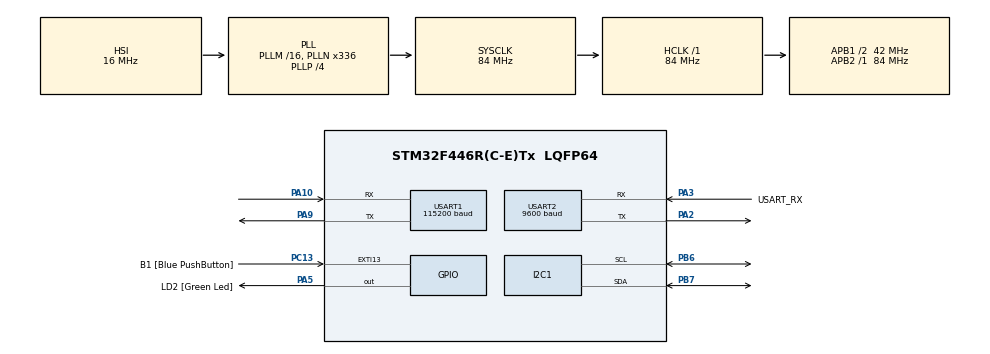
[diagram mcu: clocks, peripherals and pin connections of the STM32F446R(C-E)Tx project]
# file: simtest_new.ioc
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Dma.I2C1_RX.0.Direction=DMA_PERIPH_TO_MEMORY
Dma.I2C1_RX.0.FIFOMode=DMA_FIFOMODE_DISABLE
Dma.I2C1_RX.0.Instance=DMA1_Stream0
Dma.I2C1_RX.0.MemDataAlignment=DMA_MDATAALIGN_BYTE
Dma.I2C1_RX.0.MemInc=DMA_MINC_ENABLE
Dma.I2C1_RX.0.Mode=DMA_NORMAL
Dma.I2C1_RX.0.PeriphDataAlignment=DMA_PDATAALIGN_BYTE
Dma.I2C1_RX.0.PeriphInc=DMA_PINC_DISABLE
Dma.I2C1_RX.0.Priority=DMA_PRIORITY_LOW
Dma.I2C1_TX.1.Direction=DMA_MEMORY_TO_PERIPH
Dma.I2C1_TX.1.FIFOMode=DMA_FIFOMODE_DISABLE
Dma.I2C1_TX.1.Instance=DMA1_Stream6
Dma.I2C1_TX.1.MemDataAlignment=DMA_MDATAALIGN_BYTE
Dma.I2C1_TX.1.MemInc=DMA_MINC_ENABLE
Dma.I2C1_TX.1.Mode=DMA_NORMAL
Dma.I2C1_TX.1.PeriphDataAlignment=DMA_PDATAALIGN_BYTE
Dma.I2C1_TX.1.PeriphInc=DMA_PINC_DISABLE
Dma.I2C1_TX.1.Priority=DMA_PRIORITY_LOW
Dma.Request0=I2C1_RX
Dma.Request1=I2C1_TX
Mcu.Family=STM32F4
Mcu.Name=STM32F446R(C-E)Tx
Mcu.Package=LQFP64
NVIC.DMA1_Stream0_IRQn=true\:0\:0\:false\:false\:true\:false\:true\:true
NVIC.DMA1_Stream6_IRQn=true\:0\:0\:false\:false\:true\:false\:true\:true
NVIC.I2C1_ER_IRQn=true\:0\:0\:false\:false\:true\:true\:true\:true
NVIC.I2C1_EV_IRQn=true\:0\:0\:false\:false\:true\:true\:true\:true
NVIC.PriorityGroup=NVIC_PRIORITYGROUP_0
NVIC.TIM1_UP_TIM10_IRQn=true\:0\:0\:false\:false\:true\:true\:true\:true
PA10.Mode=Asynchronous
PA10.Signal=USART1_RX
PA13.GPIO_Label=TMS
PA13.Mode=Serial_Wire
PA13.Signal=SYS_JTMS-SWDIO
PA14.GPIO_Label=TCK
PA14.Mode=Serial_Wire
PA14.Signal=SYS_JTCK-SWCLK
PA2.Mode=Asynchronous
PA2.Signal=USART2_TX
PA3.GPIO_Label=USART_RX
PA3.Mode=Asynchronous
PA3.Signal=USART2_RX
PA5.GPIO_Label=LD2 [Green Led]
PA5.Signal=GPIO_Output
PA9.Mode=Asynchronous
PA9.Signal=USART1_TX
PB3.GPIO_Label=SWO
PB3.Signal=SYS_JTDO-SWO
PB6.Mode=I2C
PB6.Signal=I2C1_SCL
PB7.Mode=I2C
PB7.Signal=I2C1_SDA
PC13.GPIO_Label=B1 [Blue PushButton]
PC13.GPIO_ModeDefaultEXTI=GPIO_MODE_IT_FALLING
PC13.Signal=GPXTI13
PC14-OSC32_IN.Mode=LSE-External-Oscillator
PC14-OSC32_IN.Signal=RCC_OSC32_IN
PC15-OSC32_OUT.Mode=LSE-External-Oscillator
PC15-OSC32_OUT.Signal=RCC_OSC32_OUT
PH0-OSC_IN.Mode=HSE-External-Oscillator
PH0-OSC_IN.Signal=RCC_OSC_IN
PH1-OSC_OUT.Mode=HSE-External-Oscillator
PH1-OSC_OUT.Signal=RCC_OSC_OUT
ProjectManager.HeapSize=0x200
ProjectManager.StackSize=0x400
ProjectManager.TargetToolchain=STM32CubeIDE
RCC.48MHZClocksFreq_Value=84000000
RCC.AHBFreq_Value=84000000
RCC.APB1CLKDivider=RCC_HCLK_DIV2
RCC.APB1Freq_Value=42000000
RCC.APB1TimFreq_Value=84000000
RCC.APB2Freq_Value=84000000
RCC.APB2TimFreq_Value=84000000
RCC.CortexFreq_Value=84000000
RCC.FLatency-AdvancedSettings=FLASH_LATENCY_2
RCC.HCLKFreq_Value=84000000
RCC.HSE_VALUE=8000000
RCC.HSI_VALUE=16000000
RCC.PLLN=336
RCC.PLLP=RCC_PLLP_DIV4
RCC.SYSCLKFreq_VALUE=84000000
RCC.SYSCLKSource=RCC_SYSCLKSOURCE_PLLCLK
RCC.USBFreq_Value=168000000
RCC.VCOOutputFreq_Value=336000000
TIM1.AutoReloadPreload=TIM_AUTORELOAD_PRELOAD_ENABLE
TIM1.Period=500-1
TIM1.Prescaler=8400-1
USART1.BaudRate=115200
USART1.VirtualMode=VM_ASYNC
USART2.BaudRate=9600
USART2.VirtualMode=VM_ASYNC
VP_TIM1_VS_ClockSourceINT.Mode=Internal
board=NUCLEO-F446RE

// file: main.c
/* USER CODE BEGIN Header */
/**
  ******************************************************************************
  * @file           : main.c
  * @brief          : Main program body
  ******************************************************************************
  * @attention
  *
  * Copyright (c) 2024 STMicroelectronics.
  * All rights reserved.
  *
  * This software is licensed under terms that can be found in the LICENSE file
  * in the root directory of this software component.
  * If no LICENSE file comes with this software, it is provided AS-IS.
  *
  ******************************************************************************
  */
/* USER CODE END Header */
#include "main.h"

/* USER CODE BEGIN Includes */
#include <stdio.h>
#include <string.h>
#include <stdlib.h>
#include <stdbool.h>
/* USER CODE END Includes */

I2C_HandleTypeDef hi2c1;
DMA_HandleTypeDef hdma_i2c1_rx;
DMA_HandleTypeDef hdma_i2c1_tx;

TIM_HandleTypeDef htim1;

UART_HandleTypeDef huart1;
UART_HandleTypeDef huart2;

/* USER CODE BEGIN PV */
//MQTT
const char apn[]  = "web.vodafone.de";
const char host[] = "tcp://test.mosquitto.org";
const int  port = 1883;
const char username[] = "";
const char password[] = "";
const char topic1[] = "mcp/temp/1";
const char topic2[] = "pd/frq/1";

//SIM7600
char ATC[60];
char reply[300] = {0};
uint8_t ATisOK = 0;
uint8_t CGREGisOK = 0;
uint8_t MQTTisStart = 0;
uint8_t MQTTisConnect = 0;
const uint32_t timeOut =10000;
uint32_t startTime;

//Temperature
static const uint8_t TMP_ADDR = 0x65 << 1;
uint8_t TempReading[2];

//I2Ccallback
#define BUFFER_SIZE 5
#define FAST_BUFFER 30
#define FAST_TIME 1 //number of second the measuring should be done during the fast measuring
#define TEMP_THRESHOLD 25
uint8_t bufferSize = BUFFER_SIZE;
char temperatureBuffer[FAST_BUFFER];
uint8_t bufferIndex = 0;
bool fastTrig = false;
uint32_t fastTimr = 0;
/* USER CODE END PV */

void SystemClock_Config(void);
static void MX_GPIO_Init(void);
static void MX_DMA_Init(void);
static void MX_USART2_UART_Init(void);
static void MX_USART1_UART_Init(void);
static void MX_I2C1_Init(void);
static void MX_TIM1_Init(void);
/* USER CODE BEGIN PFP */
void powerOn(void);
void SIMTransmit(char *cmd);
void startMQTT(void);
void transmitMQTT(void);
void endMQTT(void);
void mainMQTT(void);
void readTemperature(void);
void printBuffer(void);
/* USER CODE END PFP */

int main(void)
{

  /* MCU Configuration--------------------------------------------------------*/

  /* Reset of all peripherals, Initializes the Flash interface and the Systick. */
  HAL_Init();

  /* Configure the system clock */
  SystemClock_Config();

  /* Initialize all configured peripherals */
  MX_GPIO_Init();
  MX_DMA_Init();
  MX_USART2_UART_Init();
  MX_USART1_UART_Init();
  MX_I2C1_Init();
  MX_TIM1_Init();
  /* USER CODE BEGIN 2 */
  powerOn();
  HAL_TIM_Base_Start_IT(&htim1);
  /* USER CODE END 2 */
  /* Infinite loop */
  while (1)
  {

    /* USER CODE BEGIN 3 */
	  mainMQTT();
  }
  /* USER CODE END 3 */
}

void SystemClock_Config(void)
{
  RCC_OscInitTypeDef RCC_OscInitStruct = {0};
  RCC_ClkInitTypeDef RCC_ClkInitStruct = {0};

  /** Configure the main internal regulator output voltage
  */
  __HAL_RCC_PWR_CLK_ENABLE();
  __HAL_PWR_VOLTAGESCALING_CONFIG(PWR_REGULATOR_VOLTAGE_SCALE3);

  /** Initializes the RCC Oscillators according to the specified parameters
  * in the RCC_OscInitTypeDef structure.
  */
  RCC_OscInitStruct.OscillatorType = RCC_OSCILLATORTYPE_HSI;
  RCC_OscInitStruct.HSIState = RCC_HSI_ON;
  RCC_OscInitStruct.HSICalibrationValue = RCC_HSICALIBRATION_DEFAULT;
  RCC_OscInitStruct.PLL.PLLState = RCC_PLL_ON;
  RCC_OscInitStruct.PLL.PLLSource = RCC_PLLSOURCE_HSI;
  RCC_OscInitStruct.PLL.PLLM = 16;
  RCC_OscInitStruct.PLL.PLLN = 336;
  RCC_OscInitStruct.PLL.PLLP = RCC_PLLP_DIV4;
  RCC_OscInitStruct.PLL.PLLQ = 2;
  RCC_OscInitStruct.PLL.PLLR = 2;
  if (HAL_RCC_OscConfig(&RCC_OscInitStruct) != HAL_OK)
  {
    Error_Handler();
  }

  /** Initializes the CPU, AHB and APB buses clocks
  */
  RCC_ClkInitStruct.ClockType = RCC_CLOCKTYPE_HCLK|RCC_CLOCKTYPE_SYSCLK
                              |RCC_CLOCKTYPE_PCLK1|RCC_CLOCKTYPE_PCLK2;
  RCC_ClkInitStruct.SYSCLKSource = RCC_SYSCLKSOURCE_PLLCLK;
  RCC_ClkInitStruct.AHBCLKDivider = RCC_SYSCLK_DIV1;
  RCC_ClkInitStruct.APB1CLKDivider = RCC_HCLK_DIV2;
  RCC_ClkInitStruct.APB2CLKDivider = RCC_HCLK_DIV1;

  if (HAL_RCC_ClockConfig(&RCC_ClkInitStruct, FLASH_LATENCY_2) != HAL_OK)
  {
    Error_Handler();
  }
}

static void MX_I2C1_Init(void)
{

  hi2c1.Instance = I2C1;
  hi2c1.Init.ClockSpeed = 100000;
  hi2c1.Init.DutyCycle = I2C_DUTYCYCLE_2;
  hi2c1.Init.OwnAddress1 = 0;
  hi2c1.Init.AddressingMode = I2C_ADDRESSINGMODE_7BIT;
  hi2c1.Init.DualAddressMode = I2C_DUALADDRESS_DISABLE;
  hi2c1.Init.OwnAddress2 = 0;
  hi2c1.Init.GeneralCallMode = I2C_GENERALCALL_DISABLE;
  hi2c1.Init.NoStretchMode = I2C_NOSTRETCH_DISABLE;
  if (HAL_I2C_Init(&hi2c1) != HAL_OK)
  {
    Error_Handler();
  }

}

static void MX_TIM1_Init(void)
{

  TIM_ClockConfigTypeDef sClockSourceConfig = {0};
  TIM_MasterConfigTypeDef sMasterConfig = {0};

  htim1.Instance = TIM1;
  htim1.Init.Prescaler = 8400-1;
  htim1.Init.CounterMode = TIM_COUNTERMODE_UP;
  htim1.Init.Period = 1000-1;
  htim1.Init.ClockDivision = TIM_CLOCKDIVISION_DIV1;
  htim1.Init.RepetitionCounter = 0;
  htim1.Init.AutoReloadPreload = TIM_AUTORELOAD_PRELOAD_ENABLE;
  if (HAL_TIM_Base_Init(&htim1) != HAL_OK)
  {
    Error_Handler();
  }
  sClockSourceConfig.ClockSource = TIM_CLOCKSOURCE_INTERNAL;
  if (HAL_TIM_ConfigClockSource(&htim1, &sClockSourceConfig) != HAL_OK)
  {
    Error_Handler();
  }
  sMasterConfig.MasterOutputTrigger = TIM_TRGO_RESET;
  sMasterConfig.MasterSlaveMode = TIM_MASTERSLAVEMODE_DISABLE;
  if (HAL_TIMEx_MasterConfigSynchronization(&htim1, &sMasterConfig) != HAL_OK)
  {
    Error_Handler();
  }

}

static void MX_USART1_UART_Init(void)
{

  huart1.Instance = USART1;
  huart1.Init.BaudRate = 115200;
  huart1.Init.WordLength = UART_WORDLENGTH_8B;
  huart1.Init.StopBits = UART_STOPBITS_1;
  huart1.Init.Parity = UART_PARITY_NONE;
  huart1.Init.Mode = UART_MODE_TX_RX;
  huart1.Init.HwFlowCtl = UART_HWCONTROL_NONE;
  huart1.Init.OverSampling = UART_OVERSAMPLING_16;
  if (HAL_UART_Init(&huart1) != HAL_OK)
  {
    Error_Handler();
  }

}

static void MX_USART2_UART_Init(void)
{

  huart2.Instance = USART2;
  huart2.Init.BaudRate = 9600;
  huart2.Init.WordLength = UART_WORDLENGTH_8B;
  huart2.Init.StopBits = UART_STOPBITS_1;
  huart2.Init.Parity = UART_PARITY_NONE;
  huart2.Init.Mode = UART_MODE_TX_RX;
  huart2.Init.HwFlowCtl = UART_HWCONTROL_NONE;
  huart2.Init.OverSampling = UART_OVERSAMPLING_16;
  if (HAL_UART_Init(&huart2) != HAL_OK)
  {
    Error_Handler();
  }

}

static void MX_DMA_Init(void)
{

  /* DMA controller clock enable */
  __HAL_RCC_DMA1_CLK_ENABLE();

  /* DMA interrupt init */
  /* DMA1_Stream0_IRQn interrupt configuration */
  HAL_NVIC_SetPriority(DMA1_Stream0_IRQn, 0, 0);
  HAL_NVIC_EnableIRQ(DMA1_Stream0_IRQn);
  /* DMA1_Stream6_IRQn interrupt configuration */
  HAL_NVIC_SetPriority(DMA1_Stream6_IRQn, 0, 0);
  HAL_NVIC_EnableIRQ(DMA1_Stream6_IRQn);

}

static void MX_GPIO_Init(void)
{
  GPIO_InitTypeDef GPIO_InitStruct = {0};

  /* GPIO Ports Clock Enable */
  __HAL_RCC_GPIOC_CLK_ENABLE();
  __HAL_RCC_GPIOH_CLK_ENABLE();
  __HAL_RCC_GPIOA_CLK_ENABLE();
  __HAL_RCC_GPIOB_CLK_ENABLE();

  /*Configure GPIO pin Output Level */
  HAL_GPIO_WritePin(LD2_GPIO_Port, LD2_Pin, GPIO_PIN_RESET);

  /*Configure GPIO pin : B1_Pin */
  GPIO_InitStruct.Pin = B1_Pin;
  GPIO_InitStruct.Mode = GPIO_MODE_IT_FALLING;
  GPIO_InitStruct.Pull = GPIO_NOPULL;
  HAL_GPIO_Init(B1_GPIO_Port, &GPIO_InitStruct);

  /*Configure GPIO pin : LD2_Pin */
  GPIO_InitStruct.Pin = LD2_Pin;
  GPIO_InitStruct.Mode = GPIO_MODE_OUTPUT_PP;
  GPIO_InitStruct.Pull = GPIO_NOPULL;
  GPIO_InitStruct.Speed = GPIO_SPEED_FREQ_LOW;
  HAL_GPIO_Init(LD2_GPIO_Port, &GPIO_InitStruct);

}

/* USER CODE BEGIN 4 */
/**
  * @brief SIM7600 power on
  * @retval None
  */
void powerOn() {
    GPIO_InitTypeDef GPIO_InitStruct = {0};

    /* Enable GPIO Clock */
    __HAL_RCC_GPIOA_CLK_ENABLE();

    /* Configure GPIO pin Output Level */
    HAL_GPIO_WritePin(GPIOA, GPIO_PIN_8, GPIO_PIN_RESET);

    /* Configure GPIO pin : PA10 */
    GPIO_InitStruct.Pin = GPIO_PIN_8;
    GPIO_InitStruct.Mode = GPIO_MODE_OUTPUT_PP;
    GPIO_InitStruct.Pull = GPIO_NOPULL;
    GPIO_InitStruct.Speed = GPIO_SPEED_FREQ_LOW;
    HAL_GPIO_Init(GPIOA, &GPIO_InitStruct);

    /* Set the pin to HIGH */
    HAL_GPIO_WritePin(GPIOA, GPIO_PIN_8, GPIO_PIN_SET);
    HAL_Delay(500);

    /* Set the pin to LOW */
    HAL_GPIO_WritePin(GPIOA, GPIO_PIN_8, GPIO_PIN_RESET);
}

/**
  * @brief AT command transmit
  * @retval None
  */
void SIMTransmit(char *cmd){
  memset(reply,0,sizeof(reply));
  HAL_UART_Transmit(&huart1,(uint8_t *)cmd, strlen(cmd), 200);
  HAL_UART_Receive (&huart1, (uint8_t*)reply, sizeof(reply), 200);
  HAL_Delay(200);
  HAL_UART_Transmit(&huart2, (uint8_t*)reply, strlen(reply), 200);
}

/**
  * @brief MQTT start and initializing
  * @retval None
  */
void startMQTT(void){
  ATisOK = 0;
  CGREGisOK = 0;
  MQTTisStart = 0;
  MQTTisConnect = 0;

  startTime = HAL_GetTick();
  while(!ATisOK && startTime + timeOut > HAL_GetTick()){
	  SIMTransmit("AT\r\n");
	  HAL_Delay(100);
	  if(strstr((char *)reply, "OK")){
		  ATisOK = 1;
	  }
  }
  if(ATisOK){
	  startTime = HAL_GetTick();
	  while(!CGREGisOK && startTime + timeOut > HAL_GetTick()){
	 	  SIMTransmit("AT+CGREG?\r\n");
	 	  HAL_Delay(100);
	 	  if(strstr((char *)reply, "+CGREG: 0,1")){
	 		 CGREGisOK = 1;
	 	  }
	   }
  }
  if(CGREGisOK){
	  SIMTransmit("AT+CMQTTSTART\r\n");
	  if (strstr((char *)reply, "ERROR")){
		  SIMTransmit("AT+CMQTTDISC=0,120\r\n");
		  SIMTransmit("AT+CMQTTREL=0\r\n");
		  SIMTransmit("AT+CMQTTSTOP\r\n");
		  }
	  else {
		  MQTTisStart = 1;
		  SIMTransmit("AT+CMQTTACCQ=0,\"client01\"\r\n");
		  sprintf(ATC,"AT+CMQTTCONNECT=0,\"%s:%d\",60,1\r\n",host,port);
		  SIMTransmit(ATC);
		  if(strstr((char *)reply, "OK")){
			 MQTTisConnect = 1;
		  }
	  }
   }
}

/**
  * @brief MQTT data publish
  * @retval None
  */
void transmitMQTT(void){
	char mqttPayload[256];

	sprintf(ATC, "AT+CMQTTtopic=0,%d\r\n", strlen(topic1));
	SIMTransmit(ATC);
	SIMTransmit("mcp/temp/1\r\n");

	sprintf(mqttPayload, "{[");
		for (int i = 0; i < bufferSize; i++) {
			sprintf(mqttPayload + strlen(mqttPayload), "%u", temperatureBuffer[i]);
			if (i < bufferSize - 1) {
					strcat(mqttPayload, ",");
				}
		}
	strcat(mqttPayload, "]}");
	sprintf(mqttPayload + strlen(mqttPayload), "\r\n");

	sprintf(ATC, "AT+CMQTTPAYLOAD=0,%d\r\n", strlen(mqttPayload));
	SIMTransmit(ATC);
	SIMTransmit(mqttPayload);
	SIMTransmit("AT+CMQTTPUB=0,1,60\r\n");
}

/**
  * @brief MQTT terminate -- NOT USED YET
  * @retval None
  */
void endMQTT(void) {
	if (MQTTisConnect){
		SIMTransmit("AT+CMQTTDISC=0,120\r\n");
		if(!strstr((char *)reply, "OK")){
			return;
		}

		SIMTransmit("AT+CMQTTREL=0\r\n");
		if(!strstr((char *)reply, "OK")){
			return;
		}
	}

	if (MQTTisStart) {
		SIMTransmit("AT+CMQTTSTOP\r\n");
		if(!strstr((char *)reply, "OK")){
			return;
		}
	}

	MQTTisStart = 0;
	MQTTisConnect = 0;
}

/**
  * @brief main MQTT loop
  * @retval None
  */
void mainMQTT(void){
	if (!MQTTisStart || !MQTTisConnect) {
	        startMQTT();
	    }

	if (MQTTisStart && MQTTisConnect) {
	        transmitMQTT();
	    }
}

/**
  * @brief Temperature read
  * @retval None
  */
void readTemperature(void) {
	uint8_t reg_addr = 0x00;
	HAL_StatusTypeDef status;

	status = HAL_I2C_Master_Transmit(&hi2c1, TMP_ADDR, &reg_addr, 1, HAL_MAX_DELAY);
	if (status != HAL_OK) {
		char error_msg[50];
		sprintf(error_msg, "I2C Master Transmit Error: %d\r\n", status);
		HAL_UART_Transmit(&huart2, (uint8_t*)error_msg, strlen(error_msg), HAL_MAX_DELAY);
		Error_Handler();
		return;
	}
	// Start I2C Reception in DMA mode
	status = HAL_I2C_Master_Receive_DMA(&hi2c1, TMP_ADDR, TempReading, 2);
	if (status != HAL_OK) {
		char error_msg[50];
		sprintf(error_msg, "I2C Master Receive Error: %d\r\n", status);
		HAL_UART_Transmit(&huart2, (uint8_t*)error_msg, strlen(error_msg), HAL_MAX_DELAY);
		Error_Handler();
		return;
	}
}

/**
  * @brief I2C reception complete callback. Convert the value from hexadecimal to decimal.
  * @retval None
  */
void HAL_I2C_MasterRxCpltCallback(I2C_HandleTypeDef *hi2c)
{
	if (hi2c->Instance == I2C1) {
		int16_t val;
		float Temp;
		val = ((int16_t)TempReading[0] << 8) | TempReading[1];
		Temp = val * 0.0625;
		temperatureBuffer[bufferIndex] = Temp;
		bufferIndex = (bufferIndex + 1) % bufferSize;

		if (Temp > TEMP_THRESHOLD){
			fastTrig = true;
			fastTimr = FAST_TIME * 1000;
			bufferSize = FAST_BUFFER;
			}
	    }
}

/**
  * @brief Timer interrupt to cycle the I2C
  * @retval None
  */
void HAL_TIM_PeriodElapsedCallback(TIM_HandleTypeDef* htim)
{
	static uint32_t timerCount = 0;
	bool holdTrig = false;
	timerCount++;

	if (timerCount >= bufferSize) {
		timerCount = 0;
		bufferIndex = 0;
		//printBuffer();
	}
	readTemperature();

	if (fastTrig) {
			holdTrig = true;
		}
		if (holdTrig){
			if (fastTimr > 0) {
				fastTimr -=100;
			} else {
				holdTrig = false;
				bufferSize = BUFFER_SIZE;
				bufferIndex = 0;
			}
		}
}

/**
  * @brief Print data --> debugging
  * @retval None
  */
void printBuffer(void)
{
    char bufferMsg[200];
    int validEntries = (bufferIndex == 0) ? bufferSize : bufferIndex;

    sprintf(bufferMsg, "Buffer contents (%d entries): ", validEntries);
	for (int i = 0; i < validEntries; i++) {
		int index = (bufferIndex - validEntries + i + bufferSize) % bufferSize;
		sprintf(bufferMsg + strlen(bufferMsg), "%u ", temperatureBuffer[index]);
	}
	sprintf(bufferMsg + strlen(bufferMsg), "\r\n");
	HAL_UART_Transmit(&huart2, (uint8_t*)bufferMsg, strlen(bufferMsg), HAL_MAX_DELAY);
}

/* USER CODE END 4 */

void Error_Handler(void)
{
  __disable_irq();
  while (1)
  {
  }
}
